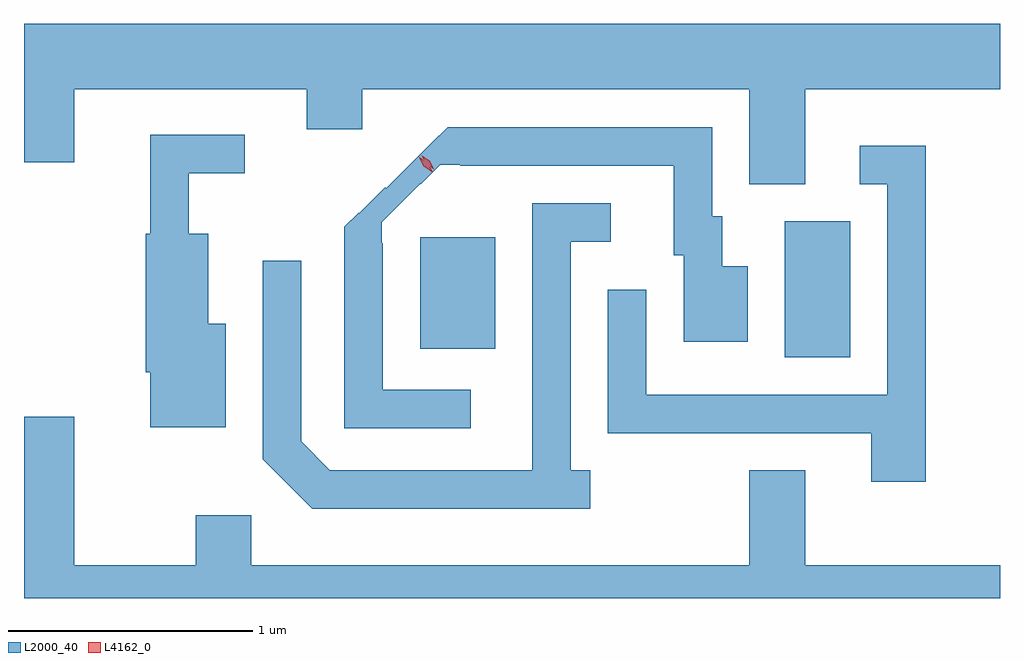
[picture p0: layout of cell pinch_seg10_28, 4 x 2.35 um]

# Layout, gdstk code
import gdstk
lib = gdstk.Library(unit=1e-6, precision=1e-09)
def R(c, l, rs):  # rectangles x0, y0, x1, y1
    for r in rs: c.add(gdstk.rectangle(r[:2], r[2:], *l))
def P(c, l, *ps):  # polygons
    for p in ps: c.add(gdstk.Polygon(p, *l))
L2000_40 = (2000, 40)
L4162_0 = (4162, 0)

pinch_seg10_28 = lib.new_cell('pinch_seg10_28')
R(pinch_seg10_28, L2000_40, [(597.876,2168.316,598.144,2168.874), (596.381,2168.351,596.689,2168.809)])
P(pinch_seg10_28, L2000_40, [(597.959,2169.416),(598.758,2169.416),(598.758,2169.684),(594.758,2169.684),(594.758,2169.116),(594.964,2169.116),(594.964,2169.416),(595.916,2169.416),(595.916,2169.251),(596.144,2169.251),(596.144,2169.416),(597.731,2169.416),(597.731,2169.026),(597.959,2169.026)],
  [(596.588,2168.184),(596.229,2168.184),(596.229,2168.785),(596.225,2168.785),(596.225,2168.87),(596.382,2169.027),(596.384,2169.025),(596.464,2169.105),(596.545,2169.105),(596.545,2169.101),(597.421,2169.101),(597.421,2168.736),(597.461,2168.736),(597.461,2168.381),(597.724,2168.381),(597.724,2168.689),(597.619,2168.689),(597.619,2168.894),(597.579,2168.894),(597.579,2169.259),(596.494,2169.259),(596.428,2169.193),(596.427,2169.194),(596.242,2169.009),(596.238,2169.014),(596.132,2168.908),(596.13,2168.91),(596.071,2168.851),(596.071,2168.026),(596.588,2168.026)],
  [(595.584,2168.454),(595.514,2168.454),(595.514,2168.824),(595.434,2168.824),(595.434,2169.071),(595.663,2169.071),(595.663,2169.229),(595.276,2169.229),(595.276,2168.824),(595.256,2168.824),(595.256,2168.256),(595.276,2168.256),(595.276,2168.031),(595.584,2168.031)],
  [(598.454,2169.184),(598.183,2169.184),(598.183,2169.026),(598.296,2169.026),(598.296,2168.164),(597.309,2168.164),(597.309,2168.593),(597.151,2168.593),(597.151,2168.006),(598.231,2168.006),(598.231,2167.806),(598.454,2167.806)],
  [(597.078,2167.854),(596.999,2167.854),(596.999,2168.791),(597.163,2168.791),(597.163,2168.949),(596.841,2168.949),(596.841,2167.854),(596.012,2167.854),(595.894,2167.972),(595.894,2168.713),(595.736,2168.713),(595.736,2167.899),(595.939,2167.696),(597.078,2167.696)],
  [(598.758,2167.464),(597.959,2167.464),(597.959,2167.854),(597.731,2167.854),(597.731,2167.464),(595.689,2167.464),(595.689,2167.669),(595.461,2167.669),(595.461,2167.464),(594.964,2167.464),(594.964,2168.074),(594.758,2168.074),(594.758,2167.329),(598.758,2167.329)])
P(pinch_seg10_28, L4162_0, [(596.437,2169.088),(596.406,2169.109),(596.389,2169.142),(596.389,2169.143),(596.39,2169.143),(596.421,2169.122),(596.438,2169.088),(596.438,2169.088)],
  [(596.432,2169.075),(596.397,2169.1),(596.375,2169.138),(596.375,2169.139),(596.376,2169.139),(596.412,2169.114),(596.433,2169.075),(596.433,2169.075)])

lib.write_gds('pinch_seg10_28.gds')
